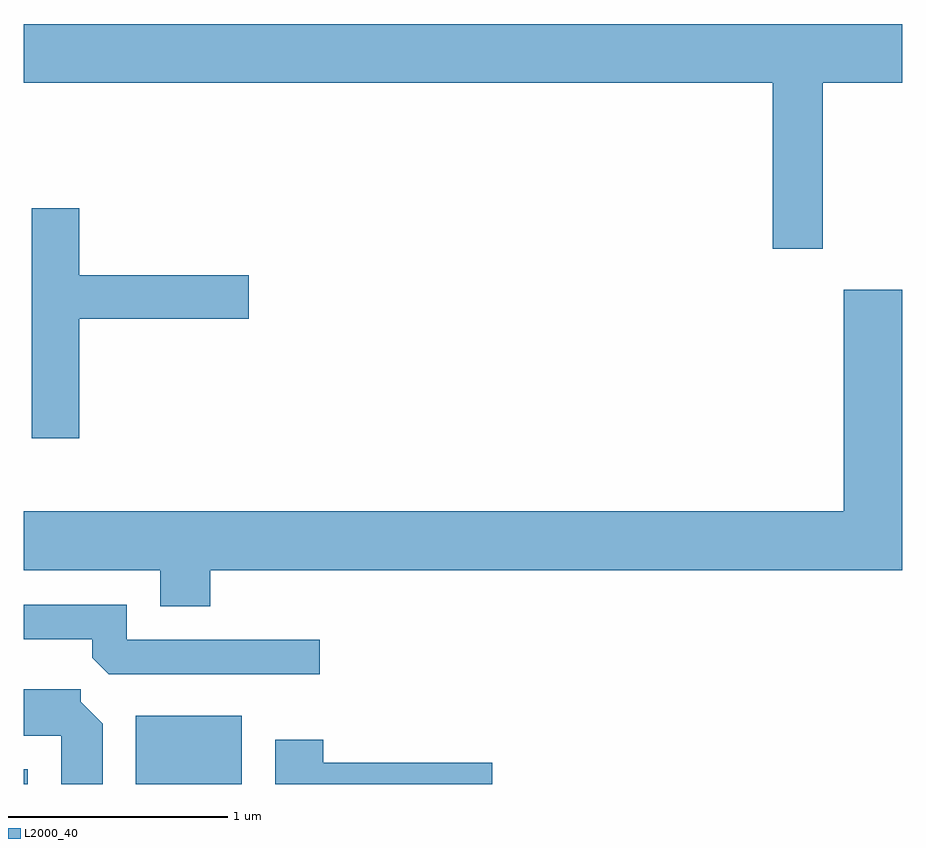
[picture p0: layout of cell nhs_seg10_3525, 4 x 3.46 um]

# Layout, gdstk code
import gdstk
lib = gdstk.Library(unit=1e-6, precision=1e-09)
def R(c, l, rs):  # rectangles x0, y0, x1, y1
    for r in rs: c.add(gdstk.rectangle(r[:2], r[2:], *l))
def P(c, l, *ps):  # polygons
    for p in ps: c.add(gdstk.Polygon(p, *l))
L2000_40 = (2000, 40)

nhs_seg10_3525 = lib.new_cell('nhs_seg10_3525')
R(nhs_seg10_3525, L2000_40, [(289.611,2088.522,289.629,2088.589), (290.121,2088.522,290.604,2088.834)])
P(nhs_seg10_3525, L2000_40, [(293.249,2091.716),(293.611,2091.716),(293.611,2091.984),(289.611,2091.984),(289.611,2091.716),(293.021,2091.716),(293.021,2090.961),(293.249,2090.961)],
  [(289.864,2090.641),(290.634,2090.641),(290.634,2090.839),(289.864,2090.839),(289.864,2091.144),(289.646,2091.144),(289.646,2090.096),(289.864,2090.096)],
  [(290.459,2089.496),(293.611,2089.496),(293.611,2090.774),(293.346,2090.774),(293.346,2089.764),(289.611,2089.764),(289.611,2089.496),(290.231,2089.496),(290.231,2089.331),(290.459,2089.331)],
  [(290.958,2089.179),(290.079,2089.179),(290.079,2089.339),(289.611,2089.339),(289.611,2089.181),(289.921,2089.181),(289.921,2089.097),(289.997,2089.021),(290.958,2089.021)],
  [(289.969,2088.797),(289.869,2088.896),(289.869,2088.954),(289.611,2088.954),(289.611,2088.741),(289.781,2088.741),(289.781,2088.522),(289.969,2088.522)],
  [(291.744,2088.619),(290.974,2088.619),(290.974,2088.724),(290.756,2088.724),(290.756,2088.522),(291.744,2088.522)])

lib.write_gds('nhs_seg10_3525.gds')
